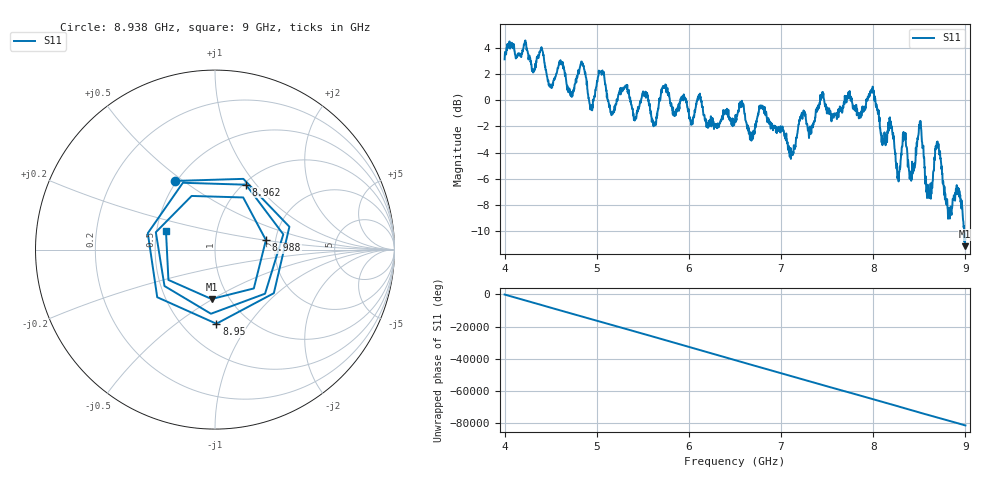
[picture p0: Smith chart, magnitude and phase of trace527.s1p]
! Created with skrf 1.8.0 (http://scikit-rf.org).
# Hz S RI R 50.0
!freq ReS11 ImS11
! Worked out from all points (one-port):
!   1601 points, 4 GHz to 9 GHz, reference 50 ohm
!   lowest |S11| = -11.2 dB at 8.994 GHz (marker M1), VSWR 1.76, Z = 41.5 - j24.7 ohm
!   |S11| at or under -10 dB: 8.985288 GHz to end of sweep
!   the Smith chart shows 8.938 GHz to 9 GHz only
!   S11 on the Smith chart (normalised r, x): 8.938 GHz: 0.49, +0.47; 8.95 GHz: 0.72, -0.71; 8.962 GHz: 1.03, +0.89; 8.988 GHz: 1.78, +0.21; 9 GHz: 0.56, +0.13
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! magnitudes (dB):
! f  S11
! 4 GHz  3.1
! 4.625 GHz  2.9
! 4.716 GHz  0.4
! 4.844 GHz  2.7
! 4.941 GHz  -0.4
! 5.041 GHz  2.2
! 5.162 GHz  -1.1
! 5.25 GHz  0.8
! 5.875 GHz  -0.7
! 6.5 GHz  -1.5
! 6.688 GHz  -2.5
! 6.788 GHz  -0.5
! 7.125 GHz  -4.1
! 7.231 GHz  -1.4
! 7.75 GHz  0.2
! 7.991 GHz  0.6
! 8.269 GHz  -5.8
! 8.375 GHz  -5.1
! 8.506 GHz  -1.6
! 8.6 GHz  -7.0
! 8.697 GHz  -3.2
! 8.812 GHz  -9.1
! 8.938 GHz  -7.1
! 8.95 GHz  -7.7
! 8.962 GHz  -7.9
! 8.988 GHz  -10.8
! 8.994 GHz  -11.2
! 9 GHz  -10.7
